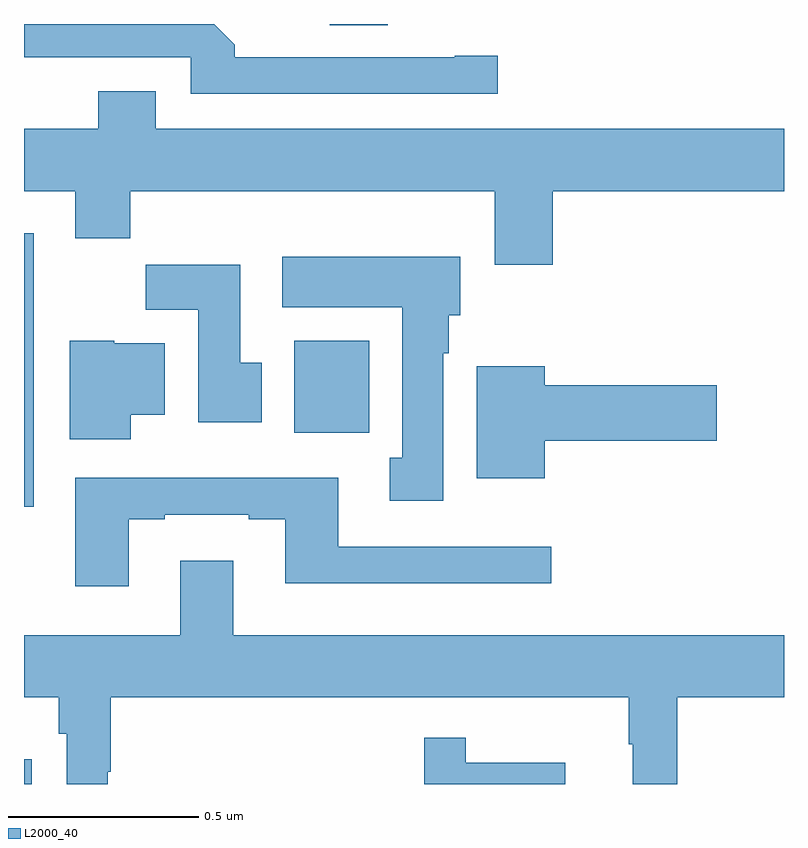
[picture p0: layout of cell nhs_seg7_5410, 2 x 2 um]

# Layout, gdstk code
import gdstk
lib = gdstk.Library(unit=1e-6, precision=1e-09)
def R(c, l, rs):  # rectangles x0, y0, x1, y1
    for r in rs: c.add(gdstk.rectangle(r[:2], r[2:], *l))
def P(c, l, *ps):  # polygons
    for p in ps: c.add(gdstk.Polygon(p, *l))
L2000_40 = (2000, 40)

nhs_seg7_5410 = lib.new_cell('nhs_seg7_5410')
R(nhs_seg7_5410, L2000_40, [(185,1055,185.02,1055.065), (185,1055.729,185.025,1056.45), (185.711,1055.924,185.908,1056.166), (185.804,1056.997,185.957,1057)])
P(nhs_seg7_5410, L2000_40, [(186.247,1056.917),(186.134,1056.917),(186.134,1056.912),(185.555,1056.912),(185.555,1056.946),(185.501,1057),(185,1057),(185,1056.912),(185.439,1056.912),(185.439,1056.816),(186.247,1056.816)],
  [(185.347,1056.823),(185.195,1056.823),(185.195,1056.724),(185,1056.724),(185,1056.56),(185.135,1056.56),(185.135,1056.436),(185.279,1056.436),(185.279,1056.56),(186.239,1056.56),(186.239,1056.366),(186.392,1056.366),(186.392,1056.56),(187,1056.56),(187,1056.724),(185.347,1056.724)],
  [(186.103,1056.134),(186.118,1056.134),(186.118,1056.234),(186.148,1056.234),(186.148,1056.388),(185.679,1056.388),(185.679,1056.254),(185.996,1056.254),(185.996,1055.858),(185.963,1055.858),(185.963,1055.745),(186.103,1055.745)],
  [(185.626,1056.108),(185.569,1056.108),(185.569,1056.367),(185.32,1056.367),(185.32,1056.248),(185.459,1056.248),(185.459,1055.952),(185.626,1055.952)],
  [(185.281,1055.972),(185.371,1055.972),(185.371,1056.16),(185.238,1056.16),(185.238,1056.166),(185.12,1056.166),(185.12,1055.907),(185.281,1055.907)],
  [(186.37,1055.903),(186.823,1055.903),(186.823,1056.05),(186.37,1056.05),(186.37,1056.1),(186.191,1056.1),(186.191,1055.804),(186.37,1055.804)],
  [(185.275,1055.697),(185.371,1055.697),(185.371,1055.709),(185.591,1055.709),(185.591,1055.697),(185.687,1055.697),(185.687,1055.528),(186.388,1055.528),(186.388,1055.625),(185.827,1055.625),(185.827,1055.806),(185.135,1055.806),(185.135,1055.52),(185.275,1055.52)],
  [(185.551,1055.587),(185.411,1055.587),(185.411,1055.392),(185,1055.392),(185,1055.228),(185.092,1055.228),(185.092,1055.132),(185.112,1055.132),(185.112,1055),(185.221,1055),(185.221,1055.032),(185.228,1055.032),(185.228,1055.228),(186.591,1055.228),(186.591,1055.105),(186.602,1055.105),(186.602,1055),(186.719,1055),(186.719,1055.228),(187,1055.228),(187,1055.392),(185.551,1055.392)],
  [(186.424,1055.056),(186.163,1055.056),(186.163,1055.122),(186.053,1055.122),(186.053,1055),(186.424,1055)])

lib.write_gds('nhs_seg7_5410.gds')
